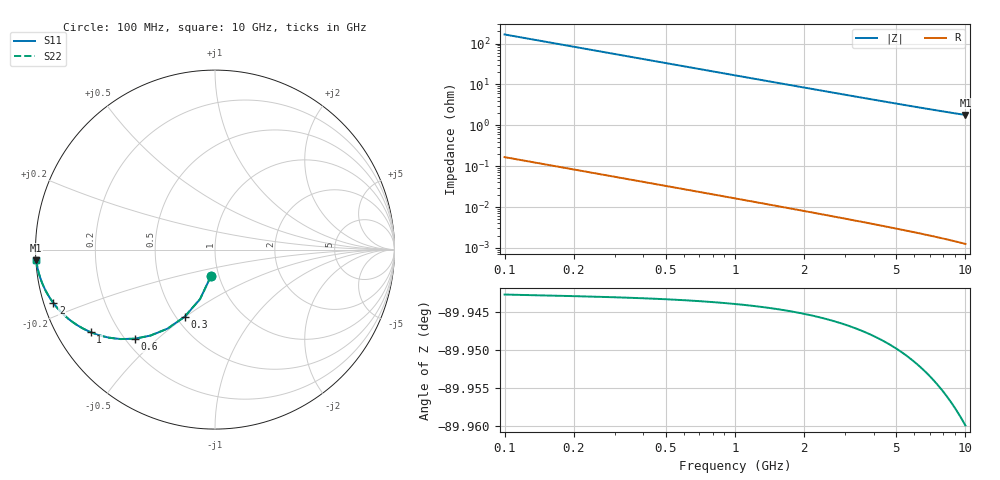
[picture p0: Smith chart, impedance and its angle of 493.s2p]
# Hz S RI R 50.00
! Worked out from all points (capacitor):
!   100 points, 100 MHz to 10 GHz, reference 50 ohm
!   read as one part in shunt: C = 9.57 pF near 100 MHz
!   lowest |Z| = 1.79 ohm at 10 GHz (marker M1)
!   S11 on the Smith chart (normalised r, x): 100 MHz: 0.92, -0.28; 300 MHz: 0.55, -0.50; 600 MHz: 0.24, -0.42; 1 GHz: 0.10, -0.30; 2 GHz: 0.03, -0.16; 10 GHz: 0.00, -0.03
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1e8  -0.0222 -0.1469  0.9778 -0.147  0.9778 -0.147  -0.0222 -0.1469
2e8  -0.0831 -0.2754  0.9169 -0.2756  0.9169 -0.2756  -0.0831 -0.2754
3e8  -0.1691 -0.3742  0.8308 -0.3746  0.8308 -0.3746  -0.1691 -0.3742
4e8  -0.2656 -0.4409  0.7344 -0.4414  0.7344 -0.4414  -0.2656 -0.4409
5e8  -0.3609 -0.4795  0.6391 -0.4801  0.6391 -0.4801  -0.3609 -0.4795
6e8  -0.4484 -0.4965  0.5516 -0.4972  0.5516 -0.4972  -0.4484 -0.4965
7e8  -0.5251 -0.4985  0.4748 -0.4993  0.4748 -0.4993  -0.5251 -0.4985
8e8  -0.5908 -0.4907  0.4092 -0.4916  0.4092 -0.4916  -0.5908 -0.4907
9e8  -0.6462 -0.4771  0.3538 -0.4782  0.3538 -0.4782  -0.6462 -0.4771
1e9  -0.6927 -0.4603  0.3073 -0.4614  0.3073 -0.4614  -0.6927 -0.4603
1.1e9  -0.7316 -0.442  0.2683 -0.4432  0.2683 -0.4432  -0.7316 -0.442
1.3e9  -0.7919 -0.4047  0.2081 -0.4062  0.2081 -0.4062  -0.7919 -0.4047
1.5e9  -0.8351 -0.3697  0.1649 -0.3715  0.1649 -0.3715  -0.8351 -0.3697
1.8e9  -0.8793 -0.3242  0.1207 -0.3263  0.1207 -0.3263  -0.8793 -0.3242
2e9  -0.8999 -0.2985  0.1001 -0.3008  0.1001 -0.3008  -0.8999 -0.2985
2.7e9  -0.9424 -0.2309  0.0576 -0.2341  0.0576 -0.2341  -0.9424 -0.2309
3.4e9  -0.9628 -0.1866  0.0371 -0.1906  0.0371 -0.1906  -0.9628 -0.1866
4.2e9  -0.9753 -0.1521  0.0246 -0.1571  0.0246 -0.1571  -0.9753 -0.1521
5.1e9  -0.9831 -0.1252  0.0168 -0.1312  0.0168 -0.1312  -0.9831 -0.1252
6.7e9  -0.9902 -0.0939  0.00975 -0.1019  0.00975 -0.1019  -0.9902 -0.0939
8.4e9  -0.9938 -0.0728  0.00615 -0.083  0.00615 -0.083  -0.9938 -0.0728
1e10  -0.9956 -0.0589  0.00427 -0.0712  0.00427 -0.0712  -0.9956 -0.0589
